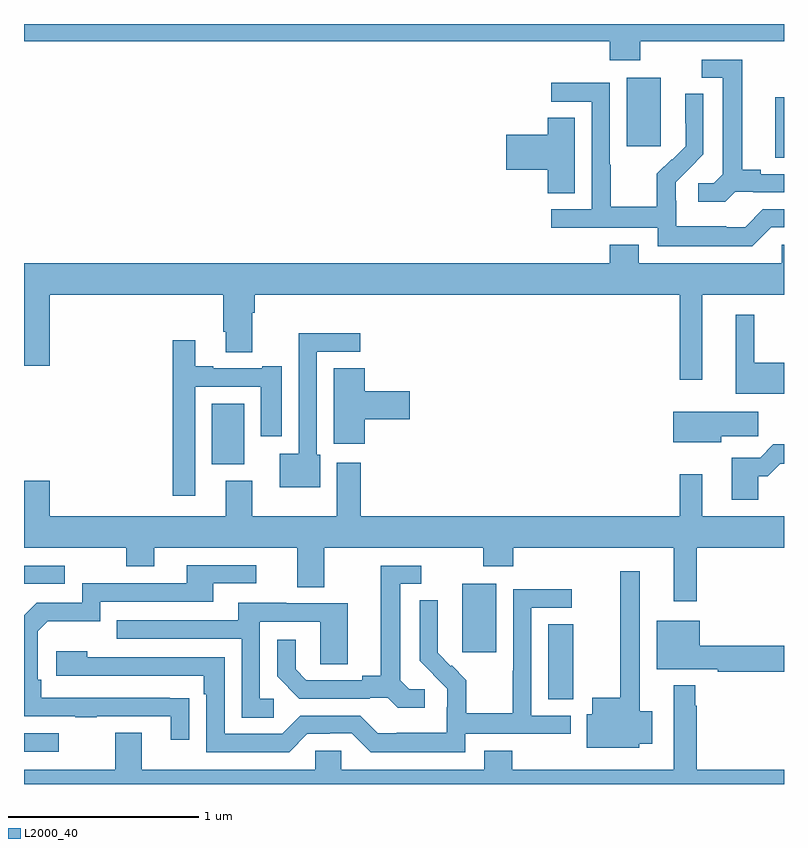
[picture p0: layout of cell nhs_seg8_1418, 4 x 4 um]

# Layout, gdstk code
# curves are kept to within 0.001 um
import gdstk
lib = gdstk.Library(unit=1e-6, precision=1e-09)
def R(c, l, rs):  # rectangles x0, y0, x1, y1
    for r in rs: c.add(gdstk.rectangle(r[:2], r[2:], *l))
def P(c, l, *ps):  # polygons
    for p in ps: c.add(gdstk.Polygon(p, *l))
L2000_40 = (2000, 40)

nhs_seg8_1418 = lib.new_cell('nhs_seg8_1418')
R(nhs_seg8_1418, L2000_40, [(201,1138.071,201.184,1138.167), (203.759,1138.345,203.89,1138.742), (203.306,1138.593,203.485,1138.954), (201,1138.953,201.214,1139.049), (201.989,1139.582,202.159,1139.902), (204.953,1141.195,205,1141.515), (204.173,1141.257,204.352,1141.618)])
P(nhs_seg8_1418, L2000_40, [(204.243,1141.808),(205,1141.808),(205,1141.9),(201,1141.9),(201,1141.808),(204.083,1141.808),(204.083,1141.709),(204.243,1141.709)],
  [(204.744,1141.017),(204.838,1141.017),(204.838,1141.014),(205,1141.014),(205,1141.11),(204.877,1141.11),(204.877,1141.133),(204.781,1141.133),(204.781,1141.713),(204.567,1141.713),(204.567,1141.617),(204.677,1141.617),(204.677,1141.109),(204.63,1141.062),(204.549,1141.062),(204.549,1140.965),(204.692,1140.965)],
  [(204.933,1140.831),(205,1140.831),(205,1140.924),(204.888,1140.924),(204.795,1140.831),(204.695,1140.831),(204.695,1140.835),(204.432,1140.835),(204.432,1140.969),(204.43,1140.969),(204.43,1141.066),(204.576,1141.214),(204.576,1141.532),(204.48,1141.532),(204.48,1141.378),(204.482,1141.378),(204.482,1141.256),(204.411,1141.185),(204.408,1141.188),(204.331,1141.111),(204.331,1140.937),(204.087,1140.937),(204.087,1141.16),(204.084,1141.16),(204.084,1141.59),(203.775,1141.59),(203.775,1141.491),(203.988,1141.491),(203.988,1140.924),(203.775,1140.924),(203.775,1140.828),(204.336,1140.828),(204.336,1140.731),(204.833,1140.731)],
  [(203.899,1141.406),(203.756,1141.406),(203.756,1141.316),(203.538,1141.316),(203.538,1141.133),(203.756,1141.133),(203.756,1141.009),(203.899,1141.009)],
  [(204.571,1140.476),(205,1140.476),(205,1140.738),(204.987,1140.738),(204.987,1140.64),(204.235,1140.64),(204.235,1140.739),(204.083,1140.739),(204.083,1140.64),(201,1140.64),(201,1140.102),(201.136,1140.102),(201.136,1140.476),(202.049,1140.476),(202.049,1140.28),(202.061,1140.28),(202.061,1140.172),(202.201,1140.172),(202.201,1140.38),(202.214,1140.38),(202.214,1140.476),(204.45,1140.476),(204.45,1140.027),(204.571,1140.027)],
  [(205,1140.118),(204.844,1140.118),(204.844,1140.37),(204.746,1140.37),(204.746,1139.954),(205,1139.954)],
  [(202.558,1139.634),(202.542,1139.634),(202.542,1140.174),(202.771,1140.174),(202.771,1140.272),(202.446,1140.272),(202.446,1139.638),(202.346,1139.638),(202.346,1139.462),(202.558,1139.462)],
  [(201.9,1139.991),(202.247,1139.991),(202.247,1139.73),(202.357,1139.73),(202.357,1140.1),(202.253,1140.1),(202.253,1140.087),(201.997,1140.087),(201.997,1140.1),(201.901,1140.1),(201.901,1140.235),(201.784,1140.235),(201.784,1139.418),(201.9,1139.418)],
  [(202.793,1139.819),(203.029,1139.819),(203.029,1139.966),(202.793,1139.966),(202.793,1140.089),(202.631,1140.089),(202.631,1139.691),(202.793,1139.691)],
  [(204.67,1139.731),(204.865,1139.731),(204.865,1139.86),(204.416,1139.86),(204.416,1139.699),(204.67,1139.699)],
  [(204.865,1139.519),(204.914,1139.519),(204.981,1139.586),(205,1139.586),(205,1139.687),(204.944,1139.687),(204.874,1139.617),(204.725,1139.617),(204.725,1139.397),(204.865,1139.397)],
  [(204.541,1139.144),(205,1139.144),(205,1139.308),(204.571,1139.308),(204.571,1139.53),(204.45,1139.53),(204.45,1139.308),(202.772,1139.308),(202.772,1139.59),(202.646,1139.59),(202.646,1139.308),(202.201,1139.308),(202.201,1139.497),(202.061,1139.497),(202.061,1139.308),(201.136,1139.308),(201.136,1139.497),(201,1139.497),(201,1139.144),(201.538,1139.144),(201.538,1139.045),(201.685,1139.045),(201.685,1139.144),(202.439,1139.144),(202.439,1138.936),(202.579,1138.936),(202.579,1139.144),(203.416,1139.144),(203.416,1139.045),(203.576,1139.045),(203.576,1139.144),(204.419,1139.144),(204.419,1138.863),(204.541,1138.863)],
  [(201.869,1138.352),(201.092,1138.353),(201.092,1138.45),(201.072,1138.45),(201.072,1138.704),(201.125,1138.757),(201.402,1138.757),(201.402,1138.86),(201.997,1138.86),(201.997,1138.956),(202.222,1138.956),(202.222,1139.052),(201.857,1139.052),(201.857,1138.956),(201.306,1138.956),(201.306,1138.854),(201.066,1138.854),(201,1138.788),(201,1138.257),(201.271,1138.257),(201.271,1138.252),(201.383,1138.252),(201.383,1138.257),(201.773,1138.257),(201.773,1138.134),(201.869,1138.134)],
  [(203.11,1138.398),(203.028,1138.398),(202.981,1138.445),(202.981,1138.953),(203.092,1138.953),(203.092,1139.049),(202.877,1139.049),(202.877,1138.469),(202.781,1138.469),(202.781,1138.446),(202.486,1138.446),(202.429,1138.503),(202.429,1138.66),(202.332,1138.66),(202.332,1138.466),(202.448,1138.35),(202.82,1138.35),(202.82,1138.353),(202.914,1138.353),(202.966,1138.301),(203.11,1138.301)],
  [(204.237,1138.112),(204.307,1138.112),(204.307,1138.283),(204.241,1138.283),(204.241,1139.02),(204.137,1139.02),(204.137,1138.354),(203.99,1138.354),(203.99,1138.266),(203.963,1138.266),(203.963,1138.091),(204.237,1138.091)],
  [(203.322,1138.164),(203.878,1138.164),(203.878,1138.26),(203.67,1138.26),(203.67,1138.827),(203.884,1138.827),(203.884,1138.926),(203.574,1138.926),(203.574,1138.496),(203.572,1138.496),(203.572,1138.273),(203.327,1138.273),(203.327,1138.447),(203.25,1138.524),(203.247,1138.521),(203.177,1138.592),(203.178,1138.868),(203.082,1138.868),(203.082,1138.55),(203.228,1138.402),(203.228,1138.305),(203.226,1138.305),(203.226,1138.171),(202.963,1138.171),(202.963,1138.167),(202.863,1138.167),(202.77,1138.26),(202.455,1138.26),(202.359,1138.164),(202.056,1138.164),(202.056,1138.566),(201.332,1138.566),(201.332,1138.6),(201.171,1138.6),(201.171,1138.47),(201.947,1138.47),(201.947,1138.373),(201.96,1138.373),(201.96,1138.068),(202.395,1138.068),(202.491,1138.164),(202.61,1138.164),(202.61,1138.167),(202.725,1138.167),(202.825,1138.067),(203.322,1138.067)],
  [(202.315,1138.35),(202.242,1138.35),(202.242,1138.755),(202.56,1138.755),(202.56,1138.531),(202.705,1138.531),(202.705,1138.851),(202.381,1138.851),(202.381,1138.855),(202.127,1138.855),(202.127,1138.761),(201.487,1138.761),(201.487,1138.665),(202.146,1138.665),(202.146,1138.249),(202.315,1138.249)],
  [(205,1138.628),(204.556,1138.628),(204.556,1138.759),(204.329,1138.759),(204.329,1138.505),(204.652,1138.505),(204.652,1138.492),(205,1138.492)],
  [(205,1137.976),(204.541,1137.976),(204.541,1138.313),(204.534,1138.313),(204.534,1138.42),(204.419,1138.42),(204.419,1137.976),(203.571,1137.976),(203.571,1138.075),(203.423,1138.075),(203.423,1137.976),(202.671,1137.976),(202.671,1138.074),(202.533,1138.074),(202.533,1137.976),(201.619,1137.976),(201.619,1138.171),(201.479,1138.171),(201.479,1137.976),(201,1137.976),(201,1137.9),(205,1137.9)])

lib.write_gds('nhs_seg8_1418.gds')
